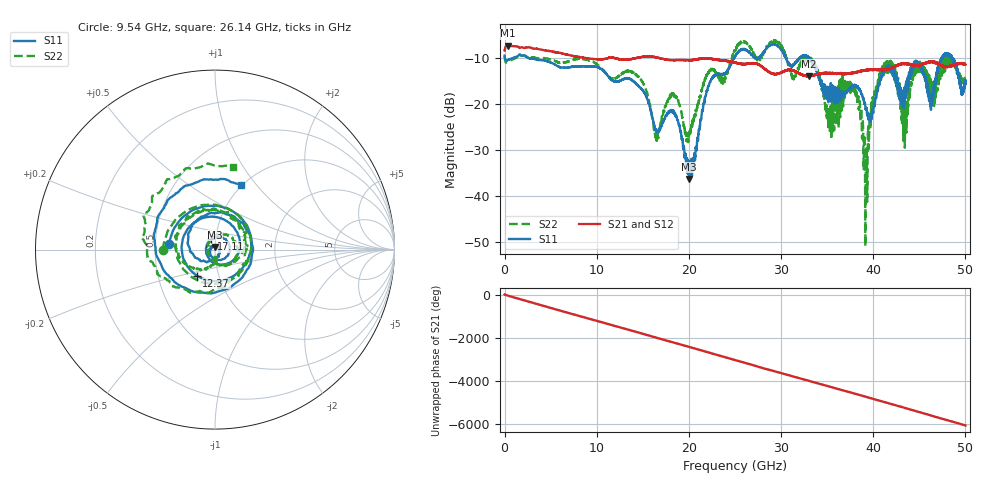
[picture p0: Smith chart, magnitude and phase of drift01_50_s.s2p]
!Created with skrf (http://scikit-rf.org).
# Hz S RI R 50.0
!freq ReS11 ImS11 ReS21 ImS21 ReS12 ImS12 ReS22 ImS22
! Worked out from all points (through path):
!   10001 points, 300 kHz to 50 GHz, reference 50 ohm
!   highest |S21| = -7.33 dB at 325.3 MHz (marker M1); lowest = -14.0 dB at 33.05 GHz (marker M2)
!   group delay of S21, straight-line fit = 335 ps
!   lowest |S11| = -36.2 dB at 20.01 GHz (marker M3), VSWR 1.03, Z = 49.8 + j1.53 ohm
!   |S11| at or under -10 dB: 2.556 GHz to 24.92 GHz (22.36 GHz wide, 163 % of centre); 30.5 GHz to 32.01 GHz (1.512 GHz wide, 4.84 % of centre); 33.06 GHz to 47.41 GHz (14.36 GHz wide, 35.7 % of centre) (the widest 3 of 30)
!   |S22| runs from -50.8 to -6.2 dB; largest |S21 - S12| = 0.01
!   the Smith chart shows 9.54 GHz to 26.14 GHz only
!   S11 on the Smith chart (normalised r, x): 9.54 GHz: 0.59, +0.04; 12.37 GHz: 0.78, -0.23; 17.11 GHz: 0.95, +0.11; 26.14 GHz: 0.99, +0.84
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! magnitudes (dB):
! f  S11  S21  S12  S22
! 300 kHz  -9.5  -8.4  -8.5  -9.5
! 325.3 MHz  -10.5  -7.3  -7.3  -10.9
! 8.335 GHz  -11.8  -9.9  -9.9  -10.2
! 9.54 GHz  -11.8  -10.2  -10.2  -10.8
! 12.37 GHz  -15.0  -10.2  -10.2  -14.0
! 16.67 GHz  -26.1  -10.0  -10.0  -27.3
! 17.11 GHz  -24.1  -10.2  -10.2  -22.8
! 18.51 GHz  -22.1  -10.5  -10.5  -18.2
! 20.01 GHz  -36.2  -10.5  -10.5  -26.6
! 22.26 GHz  -15.3  -10.2  -10.2  -12.7
! 25 GHz  -9.6  -11.0  -11.0  -8.5
! 26.14 GHz  -8.2  -11.3  -11.3  -6.6
! 33.05 GHz  -10.0  -14.0  -14.0  -10.1
! 33.34 GHz  -10.8  -13.8  -13.8  -10.4
! 35.22 GHz  -16.8  -13.3  -13.4  -21.1
! 37.98 GHz  -15.9  -13.1  -13.1  -17.1
! 39.17 GHz  -20.8  -12.7  -12.7  -38.8
! 40.16 GHz  -20.3  -12.6  -12.5  -17.4
! 41.67 GHz  -12.3  -12.3  -12.4  -11.7
! 43.35 GHz  -19.0  -11.2  -11.2  -21.7
! 44.88 GHz  -11.2  -11.6  -11.6  -11.2
! 50 GHz  -15.5  -11.5  -11.5  -14.9
